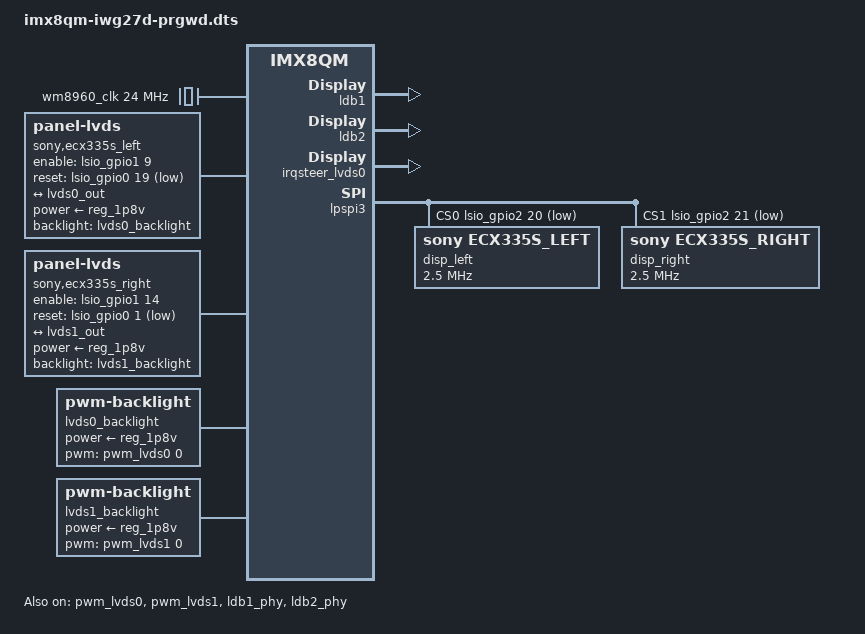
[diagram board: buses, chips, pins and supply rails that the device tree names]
// SPDX-License-Identifier: GPL-2.0+
/*
 * Copyright (c) 2021-22 iWave Systems Technologies Pvt. Ltd.
 *
 * This program is free software; you can redistribute it and/or
 * modify it under the terms of the GNU General Public License
 * as published by the Free Software Foundation; either version 2
 * of the License, or (at your option) any later version.
 *
 * This program is distributed in the hope that it will be useful,
 * but WITHOUT ANY WARRANTY; without even the implied warranty of
 * MERCHANTABILITY or FITNESS FOR A PARTICULAR PURPOSE.  See the
 * GNU General Public License for more details.
 */

/dts-v1/;

#include "imx8qm-iwg27m.dtsi"
#include "imx8qm-iwg27d.dtsi"

/ {
        clocks {
                #address-cells = <1>;
                #size-cells = <0>;

                wm8960_clk: ext24Mz { /* wm8960: External Audio Clock */
                        compatible = "fixed-clock";
                        clock-frequency = <24000000>;
                        reg=<0>;
                        #clock-cells = <0>;
                };
        };

        lvds0_panel { /* LVDS0: LVDS panel */ // LEFT
                compatible = "panel-lvds";
		label = "sony,ecx335s_left";
                backlight = <&lvds0_backlight>;
                pinctrl-names = "default";
                pinctrl-0 = <&pinctrl_lvds0>;
                power-supply = <&reg_1p8v>;
                enable-gpios = <&lsio_gpio1 9 GPIO_ACTIVE_HIGH>;
                reset-gpios = <&lsio_gpio0 19 GPIO_ACTIVE_LOW>;
                status = "okay";
 		width-mm = <1920>;
      	        height-mm = <1080>;
                data-mapping = "jeida-24";

		panel-timing {
			clock-frequency = <148500000>;
			hactive = <1920>;
			vactive = <1080>;
			hsync-len = <44>;
			hfront-porch = <88>;
			hback-porch = <148>;
			vfront-porch = <4>;
			vback-porch = <36>;
			vsync-len = <5>;
			hsync-active =<0>;
			vsync-active = <0>;
			pixelclk-active = <0>;
		};

                port {
                        panel_lvds0_in: endpoint {
                                remote-endpoint = <&lvds0_out>;
                        };
                };
        };
        lvds1_panel { /* LVDS1: LVDS panel */ // RIGHT
                compatible = "panel-lvds";
		label = "sony,ecx335s_right";
                backlight = <&lvds1_backlight>;
                pinctrl-names = "default";
                pinctrl-0 = <&pinctrl_lvds1>;
                power-supply = <&reg_1p8v>;
                enable-gpios = <&lsio_gpio1 14 GPIO_ACTIVE_HIGH>;
                reset-gpios = <&lsio_gpio0 1 GPIO_ACTIVE_LOW>;
                status = "okay";
 		width-mm = <1920>;
      	        height-mm = <1080>;
                data-mapping = "jeida-24";
		panel-timing {
			clock-frequency = <148500000>;
			hactive = <1920>;
			vactive = <1080>;
			hsync-len = <44>;
			hfront-porch = <88>;
			hback-porch = <148>;
			vfront-porch = <4>;
			vback-porch = <36>;
			vsync-len = <5>;
			hsync-active =<0>;
			vsync-active = <0>;
			pixelclk-active = <0>;
		};


                port {
                        panel_lvds1_in: endpoint {
                                remote-endpoint = <&lvds1_out>;
                        };
                };
        };
        lvds0_backlight: lvds0_backlight { /* LVDS1: LVDS Backlight Enable */
                compatible = "pwm-backlight";
                pwms = <&pwm_lvds0 0 100000 0>;
                power-supply = <&reg_1p8v>;

                brightness-levels = < 0  1  2  3  4  5  6  7  8  9
                                     10 11 12 13 14 15 16 17 18 19
                                     20 21 22 23 24 25 26 27 28 29
                                     30 31 32 33 34 35 36 37 38 39
                                     40 41 42 43 44 45 46 47 48 49
                                     50 51 52 53 54 55 56 57 58 59
                                     60 61 62 63 64 65 66 67 68 69
                                     70 71 72 73 74 75 76 77 78 79
                                     80 81 82 83 84 85 86 87 88 89
                                     90 91 92 93 94 95 96 97 98 99
                                    100>;
                default-brightness-level = <100>;
                status = "okay";
        };
        lvds1_backlight: lvds1_backlight { /* LVDS1: LVDS Backlight Enable */
                compatible = "pwm-backlight";
                pwms = <&pwm_lvds1 0 100000 0>;
                power-supply = <&reg_1p8v>;

                brightness-levels = < 0  1  2  3  4  5  6  7  8  9
                                     10 11 12 13 14 15 16 17 18 19
                                     20 21 22 23 24 25 26 27 28 29
                                     30 31 32 33 34 35 36 37 38 39
                                     40 41 42 43 44 45 46 47 48 49
                                     50 51 52 53 54 55 56 57 58 59
                                     60 61 62 63 64 65 66 67 68 69
                                     70 71 72 73 74 75 76 77 78 79
                                     80 81 82 83 84 85 86 87 88 89
                                     90 91 92 93 94 95 96 97 98 99
                                    100>;
                default-brightness-level = <100>;
                status = "okay";
        };

        sound-wm8960 { /* WM8960: Audio Codec */
                compatible = "fsl,imx-audio-wm8960";
                model = "wm8960-audio";
                audio-cpu = <&sai0>;
                audio-codec = <&wm8960>;
                audio-routing =
                        "Headphone Jack", "HP_L",
                        "Headphone Jack", "HP_R",
                        "Ext Spk", "SPK_LP",
                        "Ext Spk", "SPK_LN",
                        "Ext Spk", "SPK_RP",
                        "Ext Spk", "SPK_RN",
                        "LINPUT2", "Mic Jack",
                        "LINPUT3", "Mic Jack",
                        "RINPUT1", "AMIC",
                        "RINPUT2", "AMIC",
                        "AMIC", "MICB";
                status = "disabled";
        };
};

&pwm_lvds0 { /* LVDS1: LVDS PWM3 Control */
        pinctrl-names = "default";
        pinctrl-0 = <&pinctrl_lvds0_pwm>;
        status = "okay";
};
&pwm_lvds1 { /* LVDS1: LVDS PWM3 Control */
        pinctrl-names = "default";
        pinctrl-0 = <&pinctrl_lvds1_pwm>;
        status = "okay";
};

&ldb1_phy { /* LVDS1: LVDS LDB Phy */
        status = "okay";
};
&ldb2_phy { /* LVDS1: LVDS LDB Phy */
        status = "okay";
};

&ldb1 { /* LVDS1: LVDS Channel-0 Port Enable */
        status = "okay";
        fsl,dual-channel;
        lvds-channel@0 {
                fsl,data-mapping = "jeida";
                fsl,data-width = <24>;
                fsl,dual-channel;
                status = "okay";
                port@1 {
                        reg=<1>;
                        #address-cells=<1>;
                        #size-cells=<0>;    
                        lvds0_out: endpoint {
                                #address-cells=<1>;
                                #size-cells=<0>;                                
                                remote-endpoint = <&panel_lvds0_in>;
                        };
                };
        };
};
&ldb2 { /* LVDS1: LVDS Channel-0 Port Enable */
        status = "okay";
        fsl,dual-channel;
        lvds-channel@0 {
                fsl,data-mapping = "jeida";
                fsl,data-width = <24>;
                fsl,dual-channel;
                status = "okay";
                port@1 {
                        reg=<1>;
                        #address-cells=<1>;
                        #size-cells=<0>;                       
                        lvds1_out: endpoint {
                                address-cells=<1>;
                                size-cells=<0>;
                                remote-endpoint = <&panel_lvds1_in>;
                        };
                };
        };
};


&irqsteer_lvds0{
        status="okay";
};


&lpspi2 { // LPSPI2: SPI Flash Device 
        pinctrl-names = "default";
        pinctrl-0 = <&pinctrl_lpspi2>;
        //cs-gpios = <&lsio_gpio3 10 GPIO_ACTIVE_LOW>;
        fsl,spi-num-chipselects = <1>;
        assigned-clock-rates = <80000000>;
        status = "disabled";


};
&lpspi3 { /* LPSPI3: SPI Flash Device */
        pinctrl-names = "default";
        pinctrl-0 = <&pinctrl_lpspi3>;
        fsl,spi-num-chipselects = <2>;
        cs-gpios = <&lsio_gpio2 20 GPIO_ACTIVE_LOW>, <&lsio_gpio2 21 GPIO_ACTIVE_LOW>;
        assigned-clock-rates = <80000000>;
        spi-cpha;
	spi-cpol;
	status = "okay";

        disp_left:spidev@0 {
        	reg=<0>;
        	#address-cells = <1>;
                #size-cells = <1>;
        	compatible = "sony,ecx335s_left";
        	spi-max-frequency = <2500000>;
        	status = "okay";        
        };
        disp_right:spidev@1 {
        	reg=<1>;
        	#address-cells = <1>;
                #size-cells = <1>;
        	compatible = "sony,ecx335s_right";
        	spi-max-frequency = <2500000>;
        	status = "okay";
        };
};

&sai0 { /* WM8960: Serial Audio Interface for WM8960 Audio Codec */
	#sound-dai-cells = <0>;
        assigned-clocks = <&clk IMX_SC_R_AUDIO_PLL_0 IMX_SC_PM_CLK_PLL>,
                        <&clk IMX_SC_R_AUDIO_PLL_0 IMX_SC_PM_CLK_SLV_BUS>,
                        <&clk IMX_SC_R_AUDIO_PLL_0 IMX_SC_PM_CLK_MST_BUS>,
                        <&sai0_lpcg 0>;
        assigned-clock-rates = <786432000>, <49152000>, <12288000>, <49152000>;
        pinctrl-names = "default";
        pinctrl-0 = <&pinctrl_sai0>;
        status = "disabled";
};

&i2c1 {
        wm8960: wm8960@1a { /* WM8960: Audio Codec */
		#sound-dai-cells = <0>;
                compatible = "wlf,wm8960";
                reg = <0x1a>;
                clocks = <&wm8960_clk 0>;
                clock-names = "mclk";
		clock-frequency = <24000000>;
                wlf,shared-lrclk;
        	status = "disabled";
        };
};

&iomuxc {

        imx8qm-iwg27m {
                pinctrl_gpio: gpiogrp { /* GPIO: GPIO IOMUX Pin Configuration */
                        fsl,pins = <
                                IMX8QM_GPT1_COMPARE_LSIO_GPIO0_IO19                     0x00000021
				IMX8QM_SIM0_RST_LSIO_GPIO0_IO01		                0x00000021                       
                        >;
                };                
 		pinctrl_lvds0: lvds0grp { /* LVDS1: LVDS panel IOMUX Pin Configuration */
                        fsl,pins = <
                                /*IMX8QM_PCIE_CTRL1_PERST_B_LSIO_GPIO5_IO00               0x00000021*/ /* LVDS Power Enable GPIO */
				/*IMX8QM_LVDS1_I2C0_SCL_LSIO_GPIO1_IO12			0x00000021
				IMX8QM_LVDS1_I2C0_SDA_LSIO_GPIO1_IO13                   0x00000021
				IMX8QM_LVDS0_I2C0_SCL_LSIO_GPIO1_IO06                   0x00000021
				IMX8QM_LVDS0_I2C0_SDA_LSIO_GPIO1_IO07			0x00000021*/     
                                IMX8QM_MIPI_CSI0_I2C0_SCL_MIPI_CSI0_I2C0_SCL            0xc2000020
                                IMX8QM_MIPI_CSI0_I2C0_SDA_MIPI_CSI0_I2C0_SDA            0xc2000020                          
                        >;
                };

                pinctrl_lvds0_pwm: lvds0_pwm_grp { /* LVDS1: LVDS PWM IOMUX Pin Configuration */
                        fsl,pins = <
                                /*IMX8QM_GPT0_COMPARE_LSIO_PWM3_OUT                       0x00000020*/
                                IMX8QM_LVDS0_GPIO00_LVDS0_PWM0_OUT			0x00000020
                        >;
                };               
		pinctrl_lvds1: lvds1grp { /* LVDS1: LVDS panel IOMUX Pin Configuration */
                        fsl,pins = <
                                /*IMX8QM_PCIE_CTRL1_PERST_B_LSIO_GPIO5_IO00               0x00000021*/ /* LVDS Power Enable GPIO */
				/*IMX8QM_LVDS1_I2C1_SCL_LSIO_GPIO1_IO14			0x00000021
				IMX8QM_LVDS1_I2C1_SDA_LSIO_GPIO1_IO15                   0x00000021
				IMX8QM_LVDS0_I2C1_SCL_LSIO_GPIO1_IO08                   0x00000021
				IMX8QM_LVDS0_I2C1_SDA_LSIO_GPIO1_IO09			0x00000021*/
                                IMX8QM_MIPI_CSI1_I2C0_SCL_MIPI_CSI1_I2C0_SCL            0xc2000020
                                IMX8QM_MIPI_CSI1_I2C0_SDA_MIPI_CSI1_I2C0_SDA            0xc2000020  
                        >;
                };

                pinctrl_lvds1_pwm: lvds1_pwm_grp { /* LVDS1: LVDS PWM IOMUX Pin Configuration */
                        fsl,pins = <
                                /*IMX8QM_GPT0_COMPARE_LSIO_PWM3_OUT                       0x00000020*/
                                IMX8QM_LVDS1_GPIO00_LVDS1_PWM0_OUT			0x00000020
                        >;
                };

                pinctrl_lpspi2: lpspi2grp { /* LPSPI2: LPSPI2 IOMUX Pin Configuration */
                        fsl,pins = <
                                IMX8QM_SPI2_SCK_DMA_SPI2_SCK                            0x0600004c
                                IMX8QM_SPI2_SDO_DMA_SPI2_SDO                            0x0600004c
                                IMX8QM_SPI2_SDI_DMA_SPI2_SDI                            0x0600004c
				IMX8QM_SPI2_CS0_LSIO_GPIO3_IO10				0x0600004c
				IMX8QM_SPI2_CS0_DMA_SPI2_CS0				0x0600004c
				IMX8QM_SPI2_CS1_DMA_SPI2_CS1				0x0600004c                        
                        >;
                };

	        pinctrl_sai0: sai0grp { /* SAI0: SAI0 IOMUX Pin Configuration */
        	        fsl,pins = <
                        	IMX8QM_SPI0_SDO_AUD_SAI0_TXD            		0x0600004c
                      	 	IMX8QM_SPI0_SDI_AUD_SAI0_RXD             		0x0600004c
				IMX8QM_SPI2_CS1_AUD_SAI0_TXFS				0x0600004c
				IMX8QM_SPI0_CS1_AUD_SAI0_TXC				0x0600004c
                	>;
        	};

	};
};
